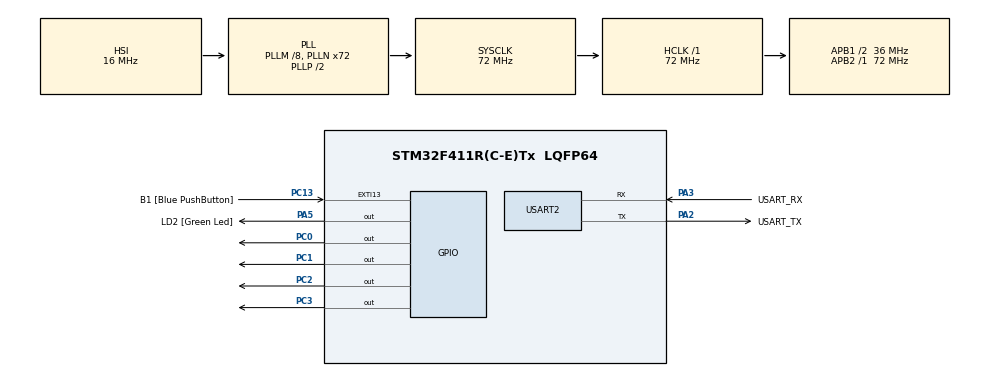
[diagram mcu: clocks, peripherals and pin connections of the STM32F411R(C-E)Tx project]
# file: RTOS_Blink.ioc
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FREERTOS.Tasks01=defaultTask,0,128,StartDefaultTask,Default,NULL,Dynamic,NULL,NULL;myTask02,-3,128,LED_Task01,Default,NULL,Dynamic,NULL,NULL;myTask03,-3,128,LED_Task02,Default,NULL,Dynamic,NULL,NULL;myTask04,-3,128,LED_Task03,Default,NULL,Dynamic,NULL,NULL;myTask05,-3,128,LED_Task04,Default,NULL,Dynamic,NULL,NULL;myTask06,-3,128,Button_Task,Default,NULL,Dynamic,NULL,NULL
FREERTOS.configUSE_NEWLIB_REENTRANT=1
Mcu.Family=STM32F4
Mcu.Name=STM32F411R(C-E)Tx
Mcu.Package=LQFP64
NVIC.PriorityGroup=NVIC_PRIORITYGROUP_4
NVIC.TIM4_IRQn=true\:15\:0\:false\:false\:true\:false\:false\:true
NVIC.TimeBase=TIM4_IRQn
NVIC.TimeBaseIP=TIM4
PA13.GPIO_Label=TMS
PA13.Mode=Serial_Wire
PA13.Signal=SYS_JTMS-SWDIO
PA14.GPIO_Label=TCK
PA14.Mode=Serial_Wire
PA14.Signal=SYS_JTCK-SWCLK
PA2.GPIO_Label=USART_TX
PA2.Mode=Asynchronous
PA2.Signal=USART2_TX
PA3.GPIO_Label=USART_RX
PA3.Mode=Asynchronous
PA3.Signal=USART2_RX
PA5.GPIO_Label=LD2 [Green Led]
PA5.Signal=GPIO_Output
PB3.GPIO_Label=SWO
PB3.Signal=SYS_JTDO-SWO
PC0.Signal=GPIO_Output
PC1.Signal=GPIO_Output
PC13-ANTI_TAMP.GPIO_Label=B1 [Blue PushButton]
PC13-ANTI_TAMP.GPIO_ModeDefaultEXTI=GPIO_MODE_IT_FALLING
PC13-ANTI_TAMP.Signal=GPXTI13
PC14-OSC32_IN.Mode=LSE-External-Oscillator
PC14-OSC32_IN.Signal=RCC_OSC32_IN
PC15-OSC32_OUT.Mode=LSE-External-Oscillator
PC15-OSC32_OUT.Signal=RCC_OSC32_OUT
PC2.Signal=GPIO_Output
PC3.Signal=GPIO_Output
PH0\ -\ OSC_IN.Mode=HSE-External-Clock-Source
PH0\ -\ OSC_IN.Signal=RCC_OSC_IN
PH1\ -\ OSC_OUT.Mode=HSE-External-Clock-Source
PH1\ -\ OSC_OUT.Signal=RCC_OSC_OUT
ProjectManager.HeapSize=0x200
ProjectManager.StackSize=0x400
ProjectManager.TargetToolchain=STM32CubeIDE
RCC.48MHZClocksFreq_Value=36000000
RCC.AHBFreq_Value=72000000
RCC.APB1CLKDivider=RCC_HCLK_DIV2
RCC.APB1Freq_Value=36000000
RCC.APB1TimFreq_Value=72000000
RCC.APB2Freq_Value=72000000
RCC.APB2TimFreq_Value=72000000
RCC.CortexFreq_Value=72000000
RCC.FLatency-AdvancedSettings=FLASH_LATENCY_2
RCC.HCLKFreq_Value=72000000
RCC.HSE_VALUE=8000000
RCC.HSI_VALUE=16000000
RCC.PLLM=8
RCC.PLLN=72
RCC.SYSCLKFreq_VALUE=72000000
RCC.SYSCLKSource=RCC_SYSCLKSOURCE_PLLCLK
RCC.VCOOutputFreq_Value=144000000
USART2.VirtualMode=VM_ASYNC
VP_FREERTOS_VS_CMSIS_V1.Mode=CMSIS_V1
VP_SYS_VS_tim4.Mode=TIM4
board=NUCLEO-F411RE

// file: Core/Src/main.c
/* USER CODE BEGIN Header */
/**
  ******************************************************************************
  * @file           : main.c
  * @brief          : Main program body
  ******************************************************************************
  * @attention
  *
  * <h2><center>&copy; Copyright (c) 2025 STMicroelectronics.
  * All rights reserved.</center></h2>
  *
  * This software component is licensed by ST under BSD 3-Clause license,
  * the "License"; You may not use this file except in compliance with the
  * License. You may obtain a copy of the License at:
  *                        opensource.org/licenses/BSD-3-Clause
  *
  ******************************************************************************
  */
/* USER CODE END Header */
#include "main.h"
#include "cmsis_os.h"

UART_HandleTypeDef huart2;

osThreadId defaultTaskHandle;
osThreadId myTask02Handle;
osThreadId myTask03Handle;
osThreadId myTask04Handle;
osThreadId myTask05Handle;
osThreadId myTask06Handle;

void SystemClock_Config(void);
static void MX_GPIO_Init(void);
static void MX_USART2_UART_Init(void);
void StartDefaultTask(void const * argument);
void LED_Task01(void const * argument);
void LED_Task02(void const * argument);
void LED_Task03(void const * argument);
void LED_Task04(void const * argument);
void Button_Task(void const * argument);

int main(void)
{

  /* MCU Configuration--------------------------------------------------------*/

  /* Reset of all peripherals, Initializes the Flash interface and the Systick. */
  HAL_Init();

  /* Configure the system clock */
  SystemClock_Config();

  /* Initialize all configured peripherals */
  MX_GPIO_Init();
  MX_USART2_UART_Init();

  /* Create the thread(s) */
  /* definition and creation of defaultTask */
  osThreadDef(defaultTask, StartDefaultTask, osPriorityNormal, 0, 128);
  defaultTaskHandle = osThreadCreate(osThread(defaultTask), NULL);

  /* definition and creation of myTask02 */
  osThreadDef(myTask02, LED_Task01, osPriorityIdle, 0, 128);
  myTask02Handle = osThreadCreate(osThread(myTask02), NULL);

  /* definition and creation of myTask03 */
  osThreadDef(myTask03, LED_Task02, osPriorityIdle, 0, 128);
  myTask03Handle = osThreadCreate(osThread(myTask03), NULL);

  /* definition and creation of myTask04 */
  osThreadDef(myTask04, LED_Task03, osPriorityIdle, 0, 128);
  myTask04Handle = osThreadCreate(osThread(myTask04), NULL);

  /* definition and creation of myTask05 */
  osThreadDef(myTask05, LED_Task04, osPriorityIdle, 0, 128);
  myTask05Handle = osThreadCreate(osThread(myTask05), NULL);

  /* definition and creation of myTask06 */
  osThreadDef(myTask06, Button_Task, osPriorityIdle, 0, 128);
  myTask06Handle = osThreadCreate(osThread(myTask06), NULL);

  /* Start scheduler */
  osKernelStart();

  /* We should never get here as control is now taken by the scheduler */
  /* Infinite loop */
  /* USER CODE BEGIN WHILE */
  while (1)
  {
//	  HAL_GPIO_TogglePin(LD2_GPIO_Port, LD2_Pin);
//	  HAL_Delay(200);
    /* USER CODE END WHILE */

  }
}

void SystemClock_Config(void)
{
  RCC_OscInitTypeDef RCC_OscInitStruct = {0};
  RCC_ClkInitTypeDef RCC_ClkInitStruct = {0};

  /** Configure the main internal regulator output voltage
  */
  __HAL_RCC_PWR_CLK_ENABLE();
  __HAL_PWR_VOLTAGESCALING_CONFIG(PWR_REGULATOR_VOLTAGE_SCALE1);
  /** Initializes the RCC Oscillators according to the specified parameters
  * in the RCC_OscInitTypeDef structure.
  */
  RCC_OscInitStruct.OscillatorType = RCC_OSCILLATORTYPE_HSI;
  RCC_OscInitStruct.HSIState = RCC_HSI_ON;
  RCC_OscInitStruct.HSICalibrationValue = RCC_HSICALIBRATION_DEFAULT;
  RCC_OscInitStruct.PLL.PLLState = RCC_PLL_ON;
  RCC_OscInitStruct.PLL.PLLSource = RCC_PLLSOURCE_HSI;
  RCC_OscInitStruct.PLL.PLLM = 8;
  RCC_OscInitStruct.PLL.PLLN = 72;
  RCC_OscInitStruct.PLL.PLLP = RCC_PLLP_DIV2;
  RCC_OscInitStruct.PLL.PLLQ = 4;
  if (HAL_RCC_OscConfig(&RCC_OscInitStruct) != HAL_OK)
  {
    Error_Handler();
  }
  /** Initializes the CPU, AHB and APB buses clocks
  */
  RCC_ClkInitStruct.ClockType = RCC_CLOCKTYPE_HCLK|RCC_CLOCKTYPE_SYSCLK
                              |RCC_CLOCKTYPE_PCLK1|RCC_CLOCKTYPE_PCLK2;
  RCC_ClkInitStruct.SYSCLKSource = RCC_SYSCLKSOURCE_PLLCLK;
  RCC_ClkInitStruct.AHBCLKDivider = RCC_SYSCLK_DIV1;
  RCC_ClkInitStruct.APB1CLKDivider = RCC_HCLK_DIV2;
  RCC_ClkInitStruct.APB2CLKDivider = RCC_HCLK_DIV1;

  if (HAL_RCC_ClockConfig(&RCC_ClkInitStruct, FLASH_LATENCY_2) != HAL_OK)
  {
    Error_Handler();
  }
}

static void MX_USART2_UART_Init(void)
{

  huart2.Instance = USART2;
  huart2.Init.BaudRate = 115200;
  huart2.Init.WordLength = UART_WORDLENGTH_8B;
  huart2.Init.StopBits = UART_STOPBITS_1;
  huart2.Init.Parity = UART_PARITY_NONE;
  huart2.Init.Mode = UART_MODE_TX_RX;
  huart2.Init.HwFlowCtl = UART_HWCONTROL_NONE;
  huart2.Init.OverSampling = UART_OVERSAMPLING_16;
  if (HAL_UART_Init(&huart2) != HAL_OK)
  {
    Error_Handler();
  }

}

static void MX_GPIO_Init(void)
{
  GPIO_InitTypeDef GPIO_InitStruct = {0};

  /* GPIO Ports Clock Enable */
  __HAL_RCC_GPIOC_CLK_ENABLE();
  __HAL_RCC_GPIOH_CLK_ENABLE();
  __HAL_RCC_GPIOA_CLK_ENABLE();
  __HAL_RCC_GPIOB_CLK_ENABLE();

  /*Configure GPIO pin Output Level */
  HAL_GPIO_WritePin(GPIOC, GPIO_PIN_0|GPIO_PIN_1|GPIO_PIN_2|GPIO_PIN_3, GPIO_PIN_RESET);

  /*Configure GPIO pin Output Level */
  HAL_GPIO_WritePin(LD2_GPIO_Port, LD2_Pin, GPIO_PIN_RESET);

  /*Configure GPIO pin : B1_Pin */
  GPIO_InitStruct.Pin = B1_Pin;
  GPIO_InitStruct.Mode = GPIO_MODE_IT_FALLING;
  GPIO_InitStruct.Pull = GPIO_NOPULL;
  HAL_GPIO_Init(B1_GPIO_Port, &GPIO_InitStruct);

  /*Configure GPIO pins : PC0 PC1 PC2 PC3 */
  GPIO_InitStruct.Pin = GPIO_PIN_0|GPIO_PIN_1|GPIO_PIN_2|GPIO_PIN_3;
  GPIO_InitStruct.Mode = GPIO_MODE_OUTPUT_PP;
  GPIO_InitStruct.Pull = GPIO_NOPULL;
  GPIO_InitStruct.Speed = GPIO_SPEED_FREQ_LOW;
  HAL_GPIO_Init(GPIOC, &GPIO_InitStruct);

  /*Configure GPIO pin : LD2_Pin */
  GPIO_InitStruct.Pin = LD2_Pin;
  GPIO_InitStruct.Mode = GPIO_MODE_OUTPUT_PP;
  GPIO_InitStruct.Pull = GPIO_NOPULL;
  GPIO_InitStruct.Speed = GPIO_SPEED_FREQ_LOW;
  HAL_GPIO_Init(LD2_GPIO_Port, &GPIO_InitStruct);

}

void StartDefaultTask(void const * argument)
{
  for(;;)
  {
    osDelay(1);
  }
}

void LED_Task01(void const * argument)
{
  /* USER CODE BEGIN LED_Task01 */
  /* Infinite loop */
  for(;;)
  {
	  HAL_GPIO_TogglePin(GPIOC, GPIO_PIN_0);
    osDelay(1000);
  }
  /* USER CODE END LED_Task01 */
}

void LED_Task02(void const * argument)
{
  /* USER CODE BEGIN LED_Task02 */
  /* Infinite loop */
  for(;;)
  {
	  HAL_GPIO_TogglePin(GPIOC, GPIO_PIN_1);
    osDelay(500);
  }
  /* USER CODE END LED_Task02 */
}

void LED_Task03(void const * argument)
{
  /* USER CODE BEGIN LED_Task03 */
  /* Infinite loop */
  for(;;)
  {
	  HAL_GPIO_TogglePin(GPIOC, GPIO_PIN_2);
    osDelay(300);
  }
  /* USER CODE END LED_Task03 */
}

void LED_Task04(void const * argument)
{
  /* USER CODE BEGIN LED_Task04 */
	uint8_t queData;
  /* Infinite loop */
  for(;;)
  {
	  if(QisEmpty(&hQue_ButtonRunStop) == 0)
	  {
		  queData = DeQueue(&hQue_ButtonRunStop);
	  }
	  if(queData)
	  {
		  HAL_GPIO_TogglePin(GPIOC, GPIO_PIN_3);
	  }
    osDelay(100);
  }
  /* USER CODE END LED_Task04 */
}

void Button_Task(void const * argument)
{
  /* USER CODE BEGIN Button_Task */
	uint8_t data = 0;
  /* Infinite loop */
  for(;;)
  {
	  if(Button_GetState(&hButton_RunStop))
	  {
		  data ^= 1; // data is 1,0 1,0 ,,, every time button is pushed
		EnQueue(&hQue_ButtonRunStop, data);
	  }
    osDelay(50); // check button every 50ms
  }
  /* USER CODE END Button_Task */
}

void HAL_TIM_PeriodElapsedCallback(TIM_HandleTypeDef *htim)
{
  if (htim->Instance == TIM4) {
    HAL_IncTick();
  }
}

void Error_Handler(void)
{
  __disable_irq();
  while (1)
  {
  }
}

/************************ (C) COPYRIGHT STMicroelectronics *****END OF FILE****/
